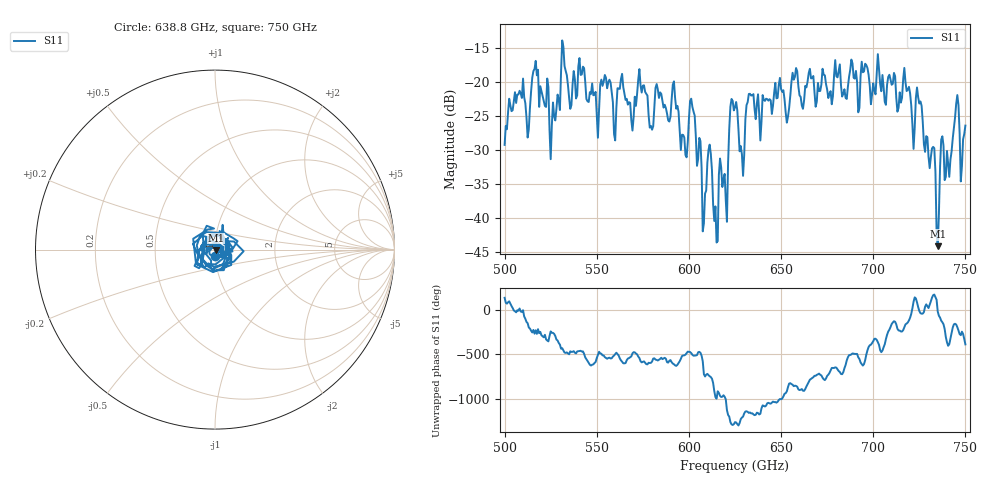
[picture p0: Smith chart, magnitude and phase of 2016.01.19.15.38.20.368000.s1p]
!Created with skrf (http://scikit-rf.org).
# GHz S RI R 50.0
!freq ReS11 ImS11
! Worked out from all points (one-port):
!   401 points, 500 GHz to 750 GHz, reference 50 ohm
!   lowest |S11| = -44.1 dB at 735 GHz (marker M1), VSWR 1.01, Z = 50.6 - j0.204 ohm
!   |S11| at or under -10 dB: start of sweep to end of sweep
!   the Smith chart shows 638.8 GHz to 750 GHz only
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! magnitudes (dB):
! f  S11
! 500 GHz  -29.3
! 508.8 GHz  -21.7
! 513.1 GHz  -27.0
! 516.9 GHz  -16.9
! 525.6 GHz  -26.4
! 531.2 GHz  -13.9
! 555.6 GHz  -21.0
! 559.4 GHz  -27.7
! 562.5 GHz  -21.0
! 593.8 GHz  -23.5
! 598.1 GHz  -30.8
! 601.9 GHz  -23.7
! 608.1 GHz  -40.8
! 611.2 GHz  -29.2
! 614.4 GHz  -38.3
! 625 GHz  -23.8
! 628.8 GHz  -30.6
! 633.1 GHz  -21.8
! 656.2 GHz  -18.7
! 687.5 GHz  -18.3
! 718.8 GHz  -21.2
! 725 GHz  -23.2
! 735 GHz  -44.1
! 737.5 GHz  -28.0
! 740 GHz  -30.2
! 745 GHz  -23.2
! 748.1 GHz  -32.4
! 750 GHz  -26.4
